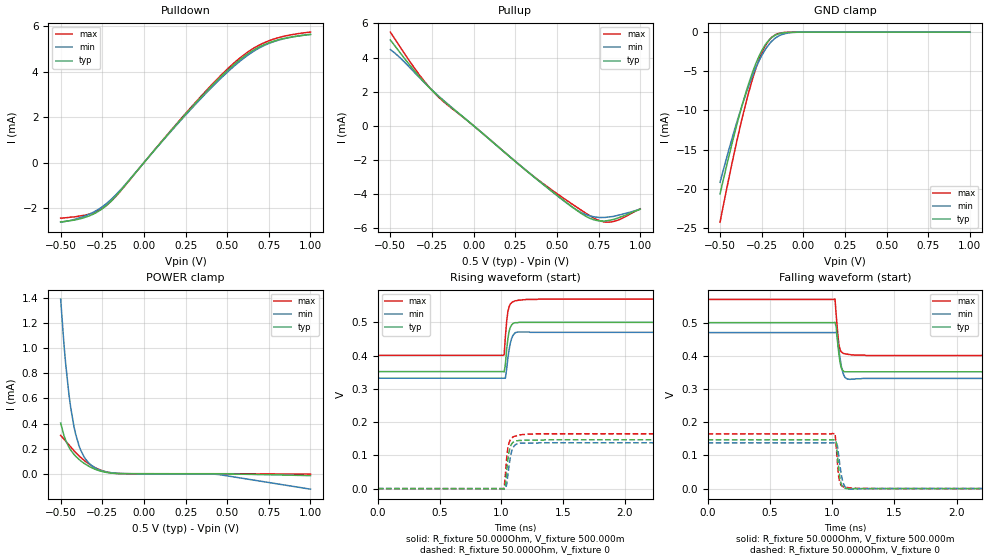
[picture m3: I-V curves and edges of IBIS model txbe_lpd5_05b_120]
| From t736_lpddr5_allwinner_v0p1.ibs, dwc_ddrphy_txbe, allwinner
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[Model] txbe_lpd5_05b_120
Model_type   I/O
Polarity   Non-Inverting
Enable   Active-High
C_comp   1.524pF   1.517pF   1.53pF
C_comp_pullup   285.267fF   277.290fF   288.625fF
C_comp_pulldown   1.179pF   1.178pF   1.182pF
Vinh = 310.000mV
Vinl = 190.000mV
Vmeas = 250.000mV
Vref = 250.000mV
Rref = 50Ohms
Cref = 0pF
[Model Spec]
Vinh   310.000mV   295.000mV   345.000mV
Vinl   190.000mV   175.000mV   225.000mV
Vmeas   250.000mV   235.000mV   285.000mV
Vref   250.000mV   235.000mV   285.000mV
D_overshoot_ampl_h 0.1 NA   NA
D_overshoot_ampl_l 0.1 NA   NA
D_overshoot_area_l 300.000m NA   NA
D_overshoot_area_h 300.000m NA   NA
[Receiver Thresholds]
Vth = 125.000mV
Vth_min = 118.000mV
Vth_max = 143.000mV
Vinh_ac = 60.000mV
Vinh_dc = 60.000mV
Vinl_ac = -60.000mV
Vinl_dc = -60.000mV
Tslew_ac = 5.000ns
Threshold_sensitivity = 0.5
Reference_supply Pullup_ref
[Temperature Range]   25.000   125.000   -40.000
[Voltage Range]   500.000mV   470.000mV   570.000mV
[GND Clamp Reference]   0.00V   0.00V   0.00V
[C Comp Corner]
| variable   typ   min   max
C_comp   1.524pF   1.517pF   1.53pF
C_comp_pullup   285.267fF   277.290fF   288.625fF
C_comp_pulldown   1.179pF   1.178pF   1.182pF
[Pulldown Reference]   0.00V   0.00V   0.00V
[POWER Clamp Reference]   500.000mV   470.000mV   570.000mV
[Pullup Reference]   500.000mV   470.000mV   570.000mV
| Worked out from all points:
|   slope of the pulldown table from 0 to 0.075 V, typ, clamps not added: 115 ohm
|   slope of the pullup table from 0 to 0.075 V, typ, clamps not added: 120 ohm
|   GND clamp passes 1 mA (typ) near -0.21 V on its own axis
|   rising waveform, R_fixture 50.000Ohm, V_fixture 500.000m: 20-80 % time 27.1ps typ, 33.2ps min, 26.9ps max; typ from 0.352 V to 0.5 V
|   rising waveform, R_fixture 50.000Ohm, V_fixture 0: 20-80 % time 29ps typ, 34.1ps min, 28ps max; typ from 0 V to 0.147 V
|   falling waveform, R_fixture 50.000Ohm, V_fixture 500.000m: 20-80 % time 26.1ps typ, 33.4ps min, 24.4ps max; typ from 0.5 V to 0.352 V
|   falling waveform, R_fixture 50.000Ohm, V_fixture 0: 20-80 % time 25.2ps typ, 32.2ps min, 22.7ps max; typ from 0.147 V to 0 V
[GND Clamp]
-500mV    -20.66mA   -19.18mA   -24.28mA
-450mV    -16.12mA   -15.23mA   -18.96mA
-400mV    -11.88mA   -11.55mA   -13.99mA
-360mV    -8.788mA   -8.843mA   -10.34mA
-330mV    -6.694mA   -6.985mA   -7.85mA
-290mV    -4.276mA   -4.796mA   -4.961mA
-260mV    -2.801mA   -3.408mA   -3.189mA
-220mV    -1.359mA   -1.949mA   -1.457mA
-190mV    -682.3uA   -1.166mA   -666.1uA
-130mV    -118.6uA   -317.6uA   -81.42uA
-50mV     -5.925uA   -26.96uA   -2.413uA
1V        1.01uA     7.434uA    299.9nA
[Power Clamp]
-500mV    404.6uA    1.393mA    306.3uA
-480mV    303.9uA    1.031mA    275.7uA
-470mV    267.1uA    878.8uA    260.4uA
-450mV    211.3uA    630.6uA    229.8uA
-420mV    154.5uA    375.8uA    183.9uA
-380mV    103.5uA    189.2uA    130.8uA
-350mV    74.95uA    115.7uA    97.55uA
-310mV    45.62uA    61.44uA    61.27uA
-240mV    14.14uA    19.05uA    19.64uA
-150mV    1.277uA    2.728uA    1.437uA
440mV     -284.7nA   -5.375uA   -46.35nA
1V        -14.93uA   -123.1uA   -3.315uA
[Pulldown]
-500mV    -2.61mA    -2.62mA    -2.44mA
-330mV    -2.348mA   -2.275mA   -2.267mA
-260mV    -2.08mA    -1.99mA    -2.054mA
-200mV    -1.713mA   -1.64mA    -1.722mA
-130mV    -1.147mA   -1.111mA   -1.158mA
320mV     2.7mA      2.649mA    2.738mA
480mV     3.908mA    3.837mA    3.971mA
600mV     4.668mA    4.601mA    4.743mA
690mV     5.083mA    5.038mA    5.164mA
770mV     5.326mA    5.302mA    5.416mA
860mV     5.495mA    5.486mA    5.593mA
1V        5.643mA    5.645mA    5.747mA
[Pullup]
-500mV    5.03mA     4.469mA    5.495mA
-440mV    4.266mA    3.973mA    4.603mA
-330mV    2.924mA    2.873mA    3.041mA
-270mV    2.278mA    2.287mA    2.301mA
-210mV    1.712mA    1.741mA    1.676mA
350mV     -2.906mA   -2.897mA   -2.889mA
550mV     -4.45mA    -4.47mA    -4.317mA
640mV     -5.102mA   -5.057mA   -4.912mA
730mV     -5.537mA   -5.352mA   -5.455mA
810mV     -5.554mA   -5.351mA   -5.656mA
870mV     -5.397mA   -5.24mA    -5.526mA
1V        -4.9mA     -4.89mA    -4.87mA
[Ramp]
R_load=50.000Ohm
dV/dt_r   88.487mV/28.500ps  82.690mV/34.500ps  100.197mV/27.500ps
dV/dt_f   88.486mV/27.000ps  82.690mV/33.500ps  100.196mV/23.500ps
[Rising waveform]
R_fixture=50.000Ohm
V_fixture=500.000m
V_fixture_min=470.000m
V_fixture_max=570.000m
0s        352mV      332mV      401mV
1.023ns   351mV      332mV      402mV
1.033ns   374mV      332mV      458mV
1.043ns   418mV      359mV      502mV
1.053ns   450mV      392mV      532mV
1.063ns   473mV      417mV      547mV
1.083ns   492mV      451mV      559mV
1.113ns   499mV      469mV      565mV
1.203ns   500mV      471mV      569mV
10ns      500mV      470mV      570mV
[Rising waveform]
R_fixture=50.000Ohm
V_fixture=0
0s        42.31uV    367.5uV    10.06uV
1.023ns   -1.459mV   -478.8uV   808.3uV
1.033ns   10.89mV    -409.9uV   43.12mV
1.043ns   49.65mV    11.93mV    90.2mV
1.053ns   86.84mV    40.4mV     123mV
1.073ns   127mV      94.75mV    147mV
1.093ns   139mV      122mV      155mV
1.113ns   143mV      132mV      158mV
1.263ns   146mV      137mV      165mV
10ns      147mV      138mV      165mV
[Falling waveform]
R_fixture=50.000Ohm
V_fixture=500.000m
V_fixture_min=470.000m
V_fixture_max=570.000m
0s        500mV      470mV      570mV
1.023ns   501mV      470mV      571mV
1.033ns   486mV      471mV      520mV
1.043ns   444mV      453mV      476mV
1.053ns   409mV      419mV      437mV
1.063ns   381mV      394mV      419mV
1.083ns   357mV      354mV      409mV
1.103ns   352mV      335mV      406mV
1.183ns   352mV      330mV      402mV
10ns      352mV      332mV      401mV
[Falling waveform]
R_fixture=50.000Ohm
V_fixture=0
0s        147mV      138mV      165mV
1.023ns   148mV      138mV      167mV
1.033ns   139mV      139mV      125mV
1.043ns   97.09mV    128mV      73.83mV
1.053ns   58.96mV    98.34mV    34.83mV
1.063ns   29.91mV    68.57mV    16.69mV
1.083ns   5.303mV    24.52mV    6.822mV
1.103ns   728.6uV    5.303mV    4.318mV
1.173ns   13.31uV    -1.175mV   1.298mV
10ns      45.43uV    367.7uV    12.94uV
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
